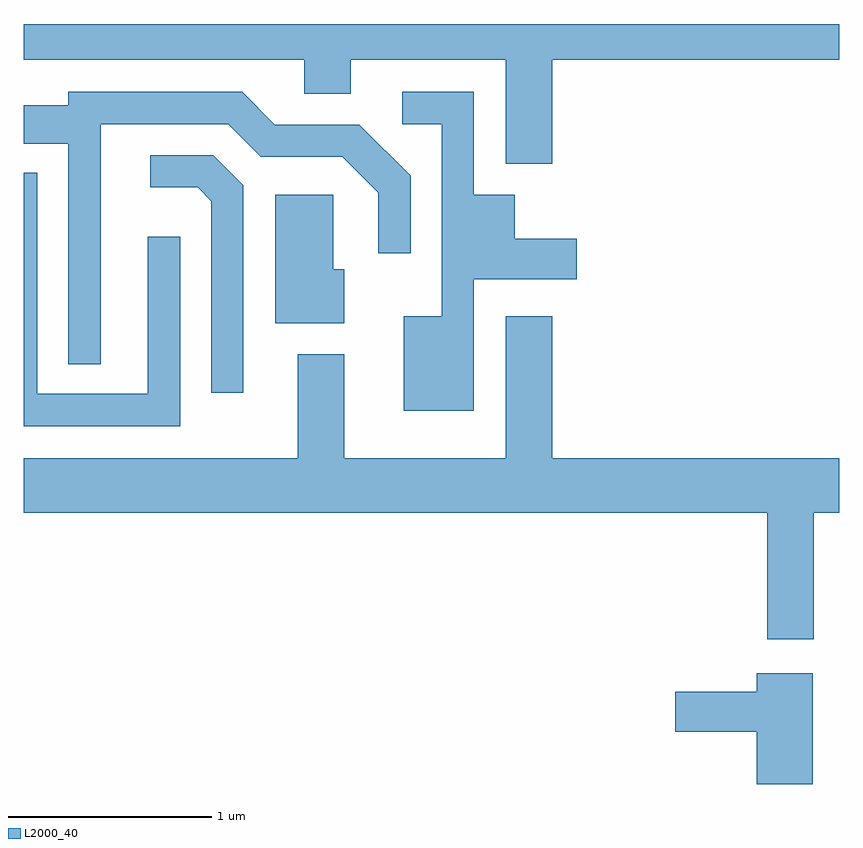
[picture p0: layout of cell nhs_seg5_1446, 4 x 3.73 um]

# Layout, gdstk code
import gdstk
lib = gdstk.Library(unit=1e-6, precision=1e-09)
def P(c, l, *ps):  # polygons
    for p in ps: c.add(gdstk.Polygon(p, *l))
L2000_40 = (2000, 40)

nhs_seg5_1446 = lib.new_cell('nhs_seg5_1446')
P(nhs_seg5_1446, L2000_40, [(230.204,1467.896),(231.611,1467.896),(231.611,1468.072),(227.611,1468.072),(227.611,1467.896),(228.986,1467.896),(228.986,1467.731),(229.214,1467.731),(229.214,1467.896),(229.976,1467.896),(229.976,1467.386),(230.204,1467.386)],
  [(229.819,1466.821),(230.324,1466.821),(230.324,1467.019),(230.019,1467.019),(230.019,1467.234),(229.819,1467.234),(229.819,1467.739),(229.468,1467.739),(229.468,1467.581),(229.661,1467.581),(229.661,1466.639),(229.476,1466.639),(229.476,1466.176),(229.819,1466.176)],
  [(227.989,1467.581),(228.614,1467.581),(228.774,1467.421),(229.174,1467.421),(229.351,1467.244),(229.351,1466.948),(229.509,1466.948),(229.509,1467.327),(229.257,1467.579),(228.842,1467.579),(228.682,1467.739),(227.831,1467.739),(227.831,1467.674),(227.611,1467.674),(227.611,1467.486),(227.831,1467.486),(227.831,1466.403),(227.989,1466.403)],
  [(228.689,1467.282),(228.542,1467.429),(228.233,1467.429),(228.233,1467.271),(228.464,1467.271),(228.531,1467.204),(228.531,1466.263),(228.689,1466.263)],
  [(228.379,1467.028),(228.221,1467.028),(228.221,1466.259),(227.679,1466.259),(227.679,1467.343),(227.611,1467.343),(227.611,1466.101),(228.379,1466.101)],
  [(229.184,1466.869),(229.129,1466.869),(229.129,1467.234),(228.846,1467.234),(228.846,1466.606),(229.184,1466.606)],
  [(231.484,1465.676),(231.611,1465.676),(231.611,1465.944),(230.204,1465.944),(230.204,1466.639),(229.976,1466.639),(229.976,1465.944),(229.184,1465.944),(229.184,1466.454),(228.956,1466.454),(228.956,1465.944),(227.611,1465.944),(227.611,1465.676),(231.256,1465.676),(231.256,1465.056),(231.484,1465.056)],
  [(231.479,1464.889),(231.206,1464.889),(231.206,1464.799),(230.806,1464.799),(230.806,1464.601),(231.206,1464.601),(231.206,1464.346),(231.479,1464.346)])

lib.write_gds('nhs_seg5_1446.gds')
